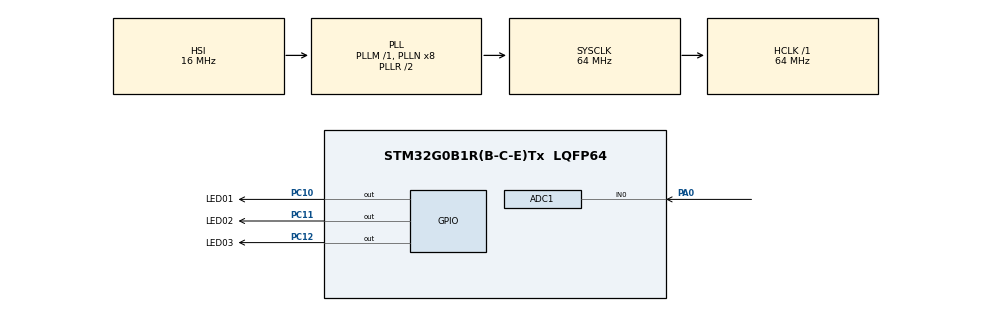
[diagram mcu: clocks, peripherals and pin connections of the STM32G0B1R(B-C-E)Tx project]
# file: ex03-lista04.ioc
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ADC1.Channel-1\#ChannelRegularConversion=ADC_CHANNEL_0
ADC1.NbrOfConversionFlag=1
ADC1.Rank-1\#ChannelRegularConversion=1
ADC1.SamplingTime-1\#ChannelRegularConversion=ADC_SAMPLINGTIME_COMMON_1
ADC1.SamplingTimeCommon1=ADC_SAMPLETIME_19CYCLES_5
ADC1.SelectedChannel=ADC_CHANNEL_0
ADC1.master=1
Mcu.Family=STM32G0
Mcu.Name=STM32G0B1R(B-C-E)Tx
Mcu.Package=LQFP64
PA0.Mode=IN0
PA0.Signal=ADC1_IN0
PA13.Mode=Serial_Wire
PA13.Signal=SYS_SWDIO
PA14-BOOT0.Mode=Serial_Wire
PA14-BOOT0.Signal=SYS_SWCLK
PC10.GPIO_Label=LED01
PC10.Signal=GPIO_Output
PC11.GPIO_Label=LED02
PC11.Signal=GPIO_Output
PC12.GPIO_Label=LED03
PC12.Signal=GPIO_Output
ProjectManager.HeapSize=0x200
ProjectManager.StackSize=0x400
ProjectManager.TargetToolchain=STM32CubeIDE
RCC.ADCFreq_Value=64000000
RCC.AHBFreq_Value=64000000
RCC.CortexFreq_Value=64000000
RCC.EXTERNAL_CLOCK_VALUE=48000
RCC.HCLKFreq_Value=64000000
RCC.HSE_VALUE=8000000
RCC.HSI48_VALUE=48000000
RCC.HSI_VALUE=16000000
RCC.LSE_VALUE=32768
RCC.SYSCLKFreq_VALUE=64000000
RCC.SYSCLKSource=RCC_SYSCLKSOURCE_PLLCLK
RCC.USBFreq_Value=48000000
RCC.VCOOutputFreq_Value=128000000
VP_SYS_VS_DBSignals.Mode=DisableDeadBatterySignals
board=custom

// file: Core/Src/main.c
/* USER CODE BEGIN Header */
/**
  ******************************************************************************
  * @file           : main.c
  * @brief          : Main program body
  ******************************************************************************
  * @attention
  *
  * Copyright (c) 2022 STMicroelectronics.
  * All rights reserved.
  *
  * This software is licensed under terms that can be found in the LICENSE file
  * in the root directory of this software component.
  * If no LICENSE file comes with this software, it is provided AS-IS.
  *
  ******************************************************************************
  */
/* USER CODE END Header */
#include "main.h"

/* USER CODE BEGIN Includes */
#include <stdint.h>
/* USER CODE END Includes */

ADC_HandleTypeDef hadc1;

void SystemClock_Config(void);
static void MX_GPIO_Init(void);
static void MX_ADC1_Init(void);

/* USER CODE BEGIN 0 */
uint16_t pot;
float volt;
/* USER CODE END 0 */

int main(void)
{

  /* MCU Configuration--------------------------------------------------------*/

  /* Reset of all peripherals, Initializes the Flash interface and the Systick. */
  HAL_Init();

  /* Configure the system clock */
  SystemClock_Config();

  /* Initialize all configured peripherals */
  MX_GPIO_Init();
  MX_ADC1_Init();

  /* Infinite loop */
  /* USER CODE BEGIN WHILE */
  while (1)
  {
	  //iniciando conversão
	  	  HAL_ADC_Start(&hadc1);

	  	  //tempo de espera para completar ciclo
	  	  HAL_ADC_PollForConversion(&hadc1, 1);

	  	  pot = HAL_ADC_GetValue(&hadc1);

	  	  //tempo de espera para completar ciclo
	  	  HAL_ADC_PollForConversion(&hadc1, 1);

	  volt = 3.3 / 4095.0 * pot;

	 	  if(volt <= 1)
	 		  HAL_GPIO_WritePin(LED01_GPIO_Port, LED01_Pin, 0);
	 	  else
	 		  HAL_GPIO_WritePin(LED01_GPIO_Port, LED01_Pin, 1);
	 	  if(volt > 1 && volt <3)
	 		  HAL_GPIO_WritePin(LED02_GPIO_Port, LED02_Pin, 0);
	 	  else
	 	 	 HAL_GPIO_WritePin(LED02_GPIO_Port, LED02_Pin, 1);
	 	  if(volt > 3)
	 		  HAL_GPIO_WritePin(LED03_GPIO_Port, LED03_Pin, 0);
	 	  else
	 		  HAL_GPIO_WritePin(LED03_GPIO_Port, LED03_Pin, 1);

    /* USER CODE END WHILE */

  }
}

void SystemClock_Config(void)
{
  RCC_OscInitTypeDef RCC_OscInitStruct = {0};
  RCC_ClkInitTypeDef RCC_ClkInitStruct = {0};

  /** Configure the main internal regulator output voltage
  */
  HAL_PWREx_ControlVoltageScaling(PWR_REGULATOR_VOLTAGE_SCALE1);
  /** Initializes the RCC Oscillators according to the specified parameters
  * in the RCC_OscInitTypeDef structure.
  */
  RCC_OscInitStruct.OscillatorType = RCC_OSCILLATORTYPE_HSI;
  RCC_OscInitStruct.HSIState = RCC_HSI_ON;
  RCC_OscInitStruct.HSIDiv = RCC_HSI_DIV1;
  RCC_OscInitStruct.HSICalibrationValue = RCC_HSICALIBRATION_DEFAULT;
  RCC_OscInitStruct.PLL.PLLState = RCC_PLL_ON;
  RCC_OscInitStruct.PLL.PLLSource = RCC_PLLSOURCE_HSI;
  RCC_OscInitStruct.PLL.PLLM = RCC_PLLM_DIV1;
  RCC_OscInitStruct.PLL.PLLN = 8;
  RCC_OscInitStruct.PLL.PLLP = RCC_PLLP_DIV2;
  RCC_OscInitStruct.PLL.PLLQ = RCC_PLLQ_DIV2;
  RCC_OscInitStruct.PLL.PLLR = RCC_PLLR_DIV2;
  if (HAL_RCC_OscConfig(&RCC_OscInitStruct) != HAL_OK)
  {
    Error_Handler();
  }
  /** Initializes the CPU, AHB and APB buses clocks
  */
  RCC_ClkInitStruct.ClockType = RCC_CLOCKTYPE_HCLK|RCC_CLOCKTYPE_SYSCLK
                              |RCC_CLOCKTYPE_PCLK1;
  RCC_ClkInitStruct.SYSCLKSource = RCC_SYSCLKSOURCE_PLLCLK;
  RCC_ClkInitStruct.AHBCLKDivider = RCC_SYSCLK_DIV1;
  RCC_ClkInitStruct.APB1CLKDivider = RCC_HCLK_DIV1;

  if (HAL_RCC_ClockConfig(&RCC_ClkInitStruct, FLASH_LATENCY_2) != HAL_OK)
  {
    Error_Handler();
  }
}

static void MX_ADC1_Init(void)
{

  ADC_ChannelConfTypeDef sConfig = {0};

  /** Configure the global features of the ADC (Clock, Resolution, Data Alignment and number of conversion)
  */
  hadc1.Instance = ADC1;
  hadc1.Init.ClockPrescaler = ADC_CLOCK_SYNC_PCLK_DIV2;
  hadc1.Init.Resolution = ADC_RESOLUTION_12B;
  hadc1.Init.DataAlign = ADC_DATAALIGN_RIGHT;
  hadc1.Init.ScanConvMode = ADC_SCAN_DISABLE;
  hadc1.Init.EOCSelection = ADC_EOC_SINGLE_CONV;
  hadc1.Init.LowPowerAutoWait = DISABLE;
  hadc1.Init.LowPowerAutoPowerOff = DISABLE;
  hadc1.Init.ContinuousConvMode = DISABLE;
  hadc1.Init.NbrOfConversion = 1;
  hadc1.Init.DiscontinuousConvMode = DISABLE;
  hadc1.Init.ExternalTrigConv = ADC_SOFTWARE_START;
  hadc1.Init.ExternalTrigConvEdge = ADC_EXTERNALTRIGCONVEDGE_NONE;
  hadc1.Init.DMAContinuousRequests = DISABLE;
  hadc1.Init.Overrun = ADC_OVR_DATA_PRESERVED;
  hadc1.Init.SamplingTimeCommon1 = ADC_SAMPLETIME_19CYCLES_5;
  hadc1.Init.SamplingTimeCommon2 = ADC_SAMPLETIME_1CYCLE_5;
  hadc1.Init.OversamplingMode = DISABLE;
  hadc1.Init.TriggerFrequencyMode = ADC_TRIGGER_FREQ_HIGH;
  if (HAL_ADC_Init(&hadc1) != HAL_OK)
  {
    Error_Handler();
  }
  /** Configure Regular Channel
  */
  sConfig.Channel = ADC_CHANNEL_0;
  sConfig.Rank = ADC_REGULAR_RANK_1;
  sConfig.SamplingTime = ADC_SAMPLINGTIME_COMMON_1;
  if (HAL_ADC_ConfigChannel(&hadc1, &sConfig) != HAL_OK)
  {
    Error_Handler();
  }

}

static void MX_GPIO_Init(void)
{
  GPIO_InitTypeDef GPIO_InitStruct = {0};

  /* GPIO Ports Clock Enable */
  __HAL_RCC_GPIOC_CLK_ENABLE();
  __HAL_RCC_GPIOA_CLK_ENABLE();

  /*Configure GPIO pin Output Level */
  HAL_GPIO_WritePin(GPIOC, LED02_Pin|LED03_Pin|LED01_Pin, GPIO_PIN_RESET);

  /*Configure GPIO pins : LED02_Pin LED03_Pin LED01_Pin */
  GPIO_InitStruct.Pin = LED02_Pin|LED03_Pin|LED01_Pin;
  GPIO_InitStruct.Mode = GPIO_MODE_OUTPUT_PP;
  GPIO_InitStruct.Pull = GPIO_NOPULL;
  GPIO_InitStruct.Speed = GPIO_SPEED_FREQ_LOW;
  HAL_GPIO_Init(GPIOC, &GPIO_InitStruct);

}

void Error_Handler(void)
{
  __disable_irq();
  while (1)
  {
  }
}
